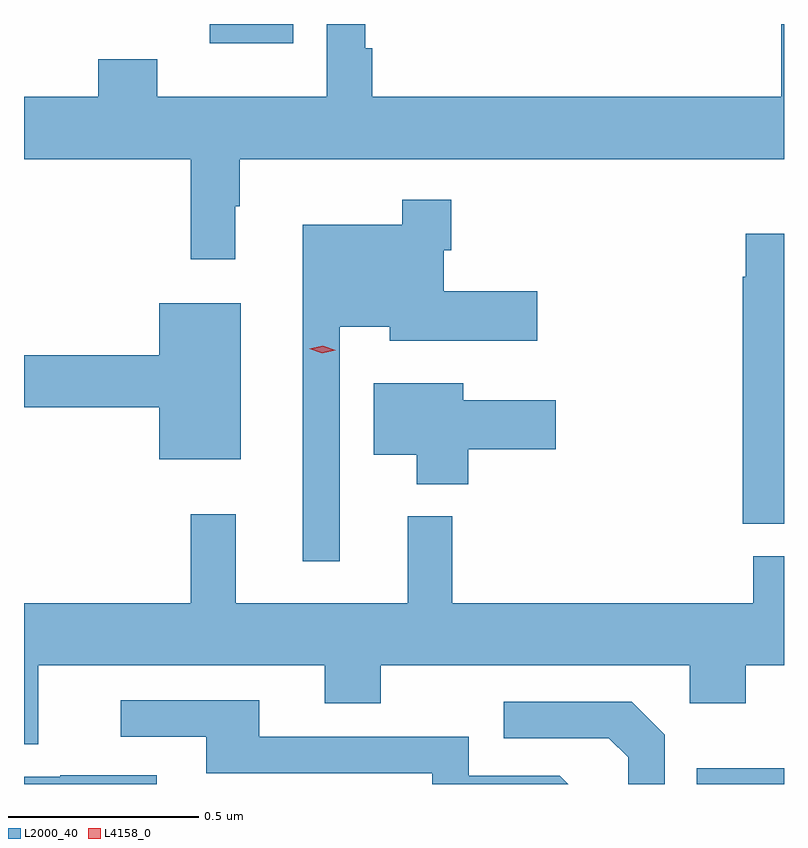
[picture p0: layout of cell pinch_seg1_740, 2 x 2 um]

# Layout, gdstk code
import gdstk
lib = gdstk.Library(unit=1e-6, precision=1e-09)
def R(c, l, rs):  # rectangles x0, y0, x1, y1
    for r in rs: c.add(gdstk.rectangle(r[:2], r[2:], *l))
def P(c, l, *ps):  # polygons
    for p in ps: c.add(gdstk.Polygon(p, *l))
L2000_40 = (2000, 40)
L4158_0 = (4158, 0)

pinch_seg1_740 = lib.new_cell('pinch_seg1_740')
R(pinch_seg1_740, L2000_40, [(648.511,536.768,648.74,536.809), (647.229,538.718,647.448,538.768)])
P(pinch_seg1_740, L2000_40, [(647.296,538.289),(647.308,538.289),(647.308,538.412),(648.74,538.412),(648.74,538.768),(648.733,538.768),(648.733,538.576),(647.656,538.576),(647.656,538.704),(647.638,538.704),(647.638,538.768),(647.537,538.768),(647.537,538.576),(647.091,538.576),(647.091,538.675),(646.936,538.675),(646.936,538.576),(646.74,538.576),(646.74,538.412),(647.179,538.412),(647.179,538.149),(647.296,538.149)],
  [(647.571,537.971),(647.702,537.971),(647.702,537.935),(648.091,537.935),(648.091,538.065),(647.845,538.065),(647.845,538.173),(647.864,538.173),(647.864,538.306),(647.736,538.306),(647.736,538.24),(647.474,538.24),(647.474,537.354),(647.571,537.354)],
  [(648.74,538.216),(648.639,538.216),(648.639,538.103),(648.631,538.103),(648.631,537.453),(648.74,537.453)],
  [(647.311,538.033),(647.096,538.033),(647.096,537.896),(646.74,537.896),(646.74,537.76),(647.096,537.76),(647.096,537.623),(647.311,537.623)],
  [(647.909,537.649),(648.139,537.649),(648.139,537.778),(647.896,537.778),(647.896,537.823),(647.66,537.823),(647.66,537.635),(647.774,537.635),(647.774,537.557),(647.909,537.557)],
  [(646.777,537.08),(647.531,537.08),(647.531,536.981),(647.679,536.981),(647.679,537.08),(648.492,537.08),(648.492,536.981),(648.639,536.981),(648.639,537.08),(648.74,537.08),(648.74,537.368),(648.659,537.368),(648.659,537.244),(647.867,537.244),(647.867,537.472),(647.75,537.472),(647.75,537.244),(647.297,537.244),(647.297,537.478),(647.179,537.478),(647.179,537.244),(646.74,537.244),(646.74,536.872),(646.777,536.872)],
  [(648.15,536.79),(647.91,536.79),(647.91,536.892),(647.359,536.892),(647.359,536.988),(646.995,536.988),(646.995,536.892),(647.219,536.892),(647.219,536.796),(647.814,536.796),(647.814,536.768),(648.172,536.768)],
  [(648.426,536.898),(648.339,536.985),(648.003,536.985),(648.003,536.889),(648.279,536.889),(648.33,536.838),(648.33,536.768),(648.426,536.768)],
  [(647.089,536.791),(646.835,536.791),(646.835,536.787),(646.74,536.787),(646.74,536.768),(647.089,536.768)])
P(pinch_seg1_740, L4158_0, [(647.525,537.902),(647.49,537.913),(647.49,537.913),(647.49,537.913),(647.526,537.921),(647.56,537.91),(647.561,537.91),(647.56,537.91)])

lib.write_gds('pinch_seg1_740.gds')
